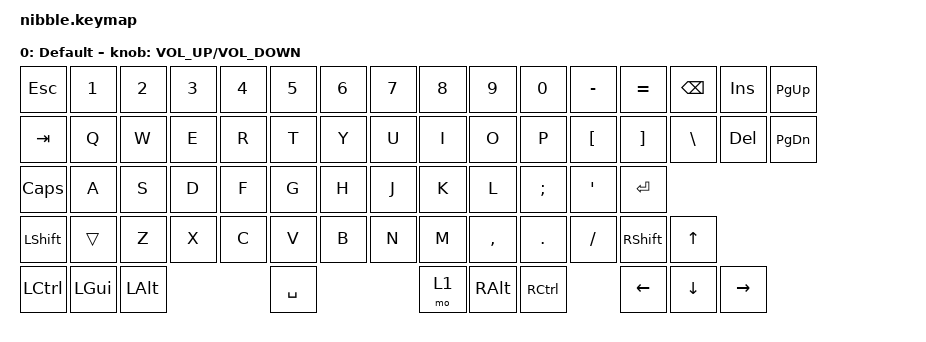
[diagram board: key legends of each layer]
/*
 * Copyright (c) 2020 The ZMK Contributors
 *
 * SPDX-License-Identifier: MIT
 */

#include <behaviors.dtsi>
#include <dt-bindings/zmk/keys.h>
#include <dt-bindings/zmk/bt.h>

/ {
	sensors {
		compatible = "zmk,keymap-sensors";
		sensors = <&encoder_1>;
	};

	keymap {
		compatible = "zmk,keymap";

		default_layer {
			label = "Default";

			sensor-bindings = <&inc_dec_kp C_VOLUME_UP C_VOLUME_DOWN>;

			bindings = <
            &kp ESC   &kp N1    &kp N2    &kp N3    &kp N4     &kp N5     &kp N6     &kp N7    &kp N8       &kp N9         &kp N0     &kp MINUS &kp EQUAL	&kp BSPC	&kp INS	    &kp PG_UP
            &kp TAB   &kp Q     &kp W     &kp E     &kp R      &kp T      &kp Y      &kp U     &kp I        &kp O          &kp P      &kp LBKT  &kp RBKT   	&kp BSLH 	&kp DEL	    &kp PG_DN
            &kp CLCK  &kp A     &kp S     &kp D     &kp F      &kp G      &kp H      &kp J     &kp K        &kp L          &kp SEMI   &kp SQT   &kp RET
            &kp LSHFT &trans    &kp Z     &kp X     &kp C      &kp V      &kp B      &kp N     &kp M        &kp COMMA      &kp DOT    &kp FSLH  &kp RSHFT 	&kp UP
            &kp LCTRL &kp LGUI  &kp LALT                       &kp SPACE                       &mo 1        &kp RALT       &kp RCTRL  	      	&kp LEFT	&kp DOWN 	&kp RIGHT
			>;

		function_layer {
			label = "Function";
			
			sensor-bindings = <&inc_dec_kp C_VOLUME_UP C_VOLUME_DOWN>;

			bindings = <
            &kp TILDE &kp F1    &kp F2    &kp F3    &kp F4     &kp F5     &kp F6     &kp F7    &kp F8       &kp F9          &kp F10    &kp F11   &kp F12   	&trans		&trans	    &kp HOME
            &trans    &trans    &trans    &trans    &trans     &trans     &trans     &trans    &trans       &kp PSCRN       &kp SLCK   &kp PAUS  &trans    	&trans   	&bootloader &kp END
            &trans    &trans    &trans    &trans    &trans     &trans     &trans     &trans    &trans       &trans          &trans     &trans    &trans
            &trans    &trans    &trans    &kp C_PP  &kp C_STOP &kp C_PREV &kp C_NEXT &C_VOL_DN &kp C_VOL_UP &kp C_MUTE      &trans     &trans    &trans    	&kp C_BRI_INC
            &trans    &trans    &trans                         &trans                          &trans       &trans          &kp K_MENU 		 &trans		&kp C_BRI_DEC	&kp trans
			>;
		};
	};
};
